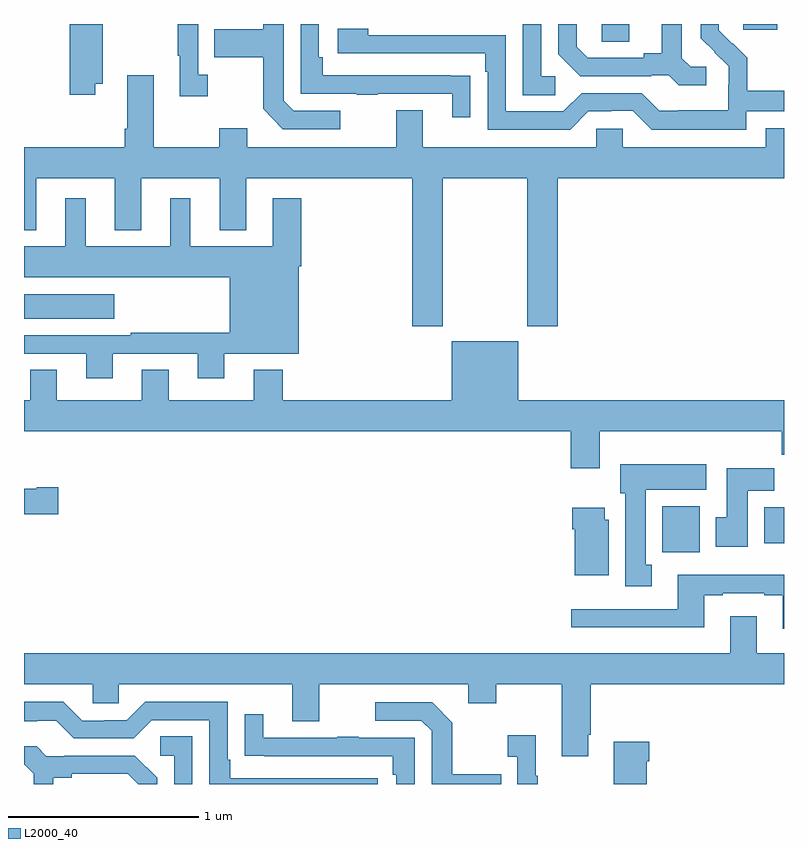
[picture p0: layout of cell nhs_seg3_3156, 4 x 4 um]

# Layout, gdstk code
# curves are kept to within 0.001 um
import gdstk
lib = gdstk.Library(unit=1e-6, precision=1e-09)
def R(c, l, rs):  # rectangles x0, y0, x1, y1
    for r in rs: c.add(gdstk.rectangle(r[:2], r[2:], *l))
def P(c, l, *ps):  # polygons
    for p in ps: c.add(gdstk.Polygon(p, *l))
L2000_40 = (2000, 40)

nhs_seg3_3156 = lib.new_cell('nhs_seg3_3156')
R(nhs_seg3_3156, L2000_40, [(278.36,693.62,278.557,693.862), (278.897,693.668,279,693.856), (275,694.85,275.476,694.978), (278.04,696.307,278.185,696.4), (278.786,696.369,278.965,696.4)])
P(nhs_seg3_3156, L2000_40, [(275.968,696.134),(275.916,696.134),(275.916,696.4),(275.808,696.4),(275.808,696.233),(275.819,696.233),(275.819,696.021),(275.968,696.021)],
  [(278.802,695.94),(279,695.94),(279,696.049),(278.807,696.049),(278.807,696.223),(278.73,696.3),(278.727,696.297),(278.657,696.368),(278.657,696.4),(278.562,696.4),(278.562,696.326),(278.708,696.178),(278.708,696.081),(278.706,696.081),(278.706,695.947),(278.443,695.947),(278.443,695.943),(278.343,695.943),(278.25,696.036),(277.935,696.036),(277.839,695.94),(277.536,695.94),(277.536,696.342),(276.812,696.342),(276.812,696.376),(276.651,696.376),(276.651,696.246),(277.427,696.246),(277.427,696.149),(277.44,696.149),(277.44,695.844),(277.875,695.844),(277.971,695.94),(278.09,695.94),(278.09,695.943),(278.205,695.943),(278.305,695.843),(278.802,695.843)],
  [(276.664,695.943),(276.42,695.943),(276.366,695.997),(276.366,696.4),(276.258,696.4),(276.258,696.373),(276.001,696.373),(276.001,696.226),(276.258,696.226),(276.258,695.953),(276.363,695.847),(276.664,695.847)],
  [(277.795,696.126),(277.722,696.126),(277.722,696.4),(277.626,696.4),(277.626,696.025),(277.795,696.025)],
  [(277.349,696.128),(277.247,696.128),(277.247,696.129),(276.572,696.129),(276.572,696.226),(276.552,696.226),(276.552,696.4),(276.456,696.4),(276.456,696.033),(276.751,696.033),(276.751,696.028),(276.863,696.028),(276.863,696.033),(277.253,696.033),(277.253,695.91),(277.349,695.91)],
  [(278.59,696.174),(278.508,696.174),(278.461,696.221),(278.461,696.4),(278.357,696.4),(278.357,696.245),(278.261,696.245),(278.261,696.222),(277.966,696.222),(277.909,696.279),(277.909,696.4),(277.812,696.4),(277.812,696.242),(277.928,696.126),(278.3,696.126),(278.3,696.129),(278.394,696.129),(278.446,696.077),(278.59,696.077)],
  [(275.374,696.086),(275.415,696.086),(275.415,696.4),(275.24,696.4),(275.24,696.027),(275.374,696.027)],
  [(277.203,695.588),(277.648,695.588),(277.648,694.809),(277.808,694.809),(277.808,695.588),(279,695.588),(279,695.851),(278.903,695.851),(278.903,695.752),(278.151,695.752),(278.151,695.85),(278.013,695.85),(278.013,695.752),(277.099,695.752),(277.099,695.947),(276.959,695.947),(276.959,695.752),(276.175,695.752),(276.175,695.851),(276.028,695.851),(276.028,695.752),(275.683,695.752),(275.683,696.13),(275.543,696.13),(275.543,695.848),(275.531,695.848),(275.531,695.752),(275,695.752),(275,695.315),(275.065,695.315),(275.065,695.588),(275.477,695.588),(275.477,695.315),(275.617,695.315),(275.617,695.588),(276.029,695.588),(276.029,695.315),(276.169,695.315),(276.169,695.588),(277.043,695.588),(277.043,694.809),(277.203,694.809)],
  [(275.467,694.665),(275.915,694.665),(275.915,694.536),(276.055,694.536),(276.055,694.664),(276.445,694.664),(276.445,695.126),(276.458,695.126),(276.458,695.482),(276.308,695.482),(276.308,695.23),(275.875,695.23),(275.875,695.482),(275.771,695.482),(275.771,695.23),(275.326,695.23),(275.326,695.482),(275.216,695.482),(275.216,695.23),(275,695.23),(275,695.066),(276.083,695.066),(276.083,694.774),(275.563,694.774),(275.563,694.761),(275,694.761),(275,694.665),(275.327,694.665),(275.327,694.536),(275.467,694.536)],
  [(278.029,694.256),(278.989,694.256),(278.989,694.132),(279,694.132),(279,694.42),(277.6,694.42),(277.6,694.729),(277.25,694.729),(277.25,694.42),(276.362,694.42),(276.362,694.579),(276.209,694.579),(276.209,694.42),(275.761,694.42),(275.761,694.58),(275.621,694.58),(275.621,694.42),(275.173,694.42),(275.173,694.58),(275.033,694.58),(275.033,694.42),(275,694.42),(275,694.256),(277.877,694.256),(277.877,694.062),(278.029,694.062)],
  [(278.305,693.554),(278.272,693.554),(278.272,693.95),(278.59,693.95),(278.59,694.084),(278.138,694.084),(278.138,693.93),(278.165,693.93),(278.165,693.441),(278.305,693.441)],
  [(278.809,693.944),(278.948,693.944),(278.948,694.063),(278.699,694.063),(278.699,693.804),(278.642,693.804),(278.642,693.648),(278.809,693.648)],
  [(275.179,693.963),(275.066,693.963),(275.066,693.955),(275,693.955),(275,693.821),(275.179,693.821)],
  [(278.077,693.792),(278.056,693.792),(278.056,693.853),(277.886,693.853),(277.886,693.74),(277.898,693.74),(277.898,693.5),(278.077,693.5)],
  [(279,693.502),(278.441,693.502),(278.441,693.321),(277.881,693.321),(277.881,693.224),(278.581,693.224),(278.581,693.393),(278.677,693.393),(278.677,693.405),(278.897,693.405),(278.897,693.393),(278.993,693.393),(278.993,693.216),(279,693.216)],
  [(275,692.924),(275.361,692.924),(275.361,692.826),(275.499,692.826),(275.499,692.924),(276.413,692.924),(276.413,692.73),(276.553,692.73),(276.553,692.924),(277.337,692.924),(277.337,692.825),(277.485,692.825),(277.485,692.924),(277.829,692.924),(277.829,692.547),(277.969,692.547),(277.969,692.659),(277.982,692.659),(277.982,692.924),(279,692.924),(279,693.088),(278.857,693.088),(278.857,693.283),(278.717,693.283),(278.717,693.088),(275,693.088)],
  [(276.862,692.43),(276.085,692.43),(276.085,692.527),(276.072,692.527),(276.072,692.832),(275.637,692.832),(275.541,692.736),(275.423,692.736),(275.423,692.733),(275.307,692.733),(275.207,692.833),(275,692.833),(275,692.729),(275.069,692.729),(275.069,692.733),(275.169,692.733),(275.262,692.64),(275.577,692.64),(275.673,692.736),(275.976,692.736),(275.976,692.4),(276.862,692.4)],
  [(277.511,692.451),(277.255,692.451),(277.255,692.723),(277.149,692.829),(276.849,692.829),(276.849,692.733),(277.092,692.733),(277.146,692.679),(277.146,692.4),(277.511,692.4)],
  [(277.056,692.643),(276.761,692.643),(276.761,692.648),(276.649,692.648),(276.649,692.643),(276.259,692.643),(276.259,692.767),(276.163,692.767),(276.163,692.548),(276.265,692.548),(276.265,692.547),(276.94,692.547),(276.94,692.45),(276.96,692.45),(276.96,692.4),(277.056,692.4)],
  [(277.705,692.443),(277.693,692.443),(277.693,692.656),(277.545,692.656),(277.545,692.543),(277.596,692.543),(277.596,692.4),(277.705,692.4)],
  [(275.886,692.651),(275.718,692.651),(275.718,692.55),(275.79,692.55),(275.79,692.4),(275.886,692.4)],
  [(278.278,692.519),(278.291,692.519),(278.291,692.623),(278.105,692.623),(278.105,692.4),(278.278,692.4)],
  [(275.155,692.432),(275.251,692.432),(275.251,692.454),(275.546,692.454),(275.6,692.4),(275.7,692.4),(275.7,692.434),(275.584,692.55),(275.212,692.55),(275.212,692.547),(275.118,692.547),(275.066,692.599),(275,692.599),(275,692.502),(275.004,692.502),(275.051,692.455),(275.051,692.4),(275.155,692.4)])

lib.write_gds('nhs_seg3_3156.gds')
